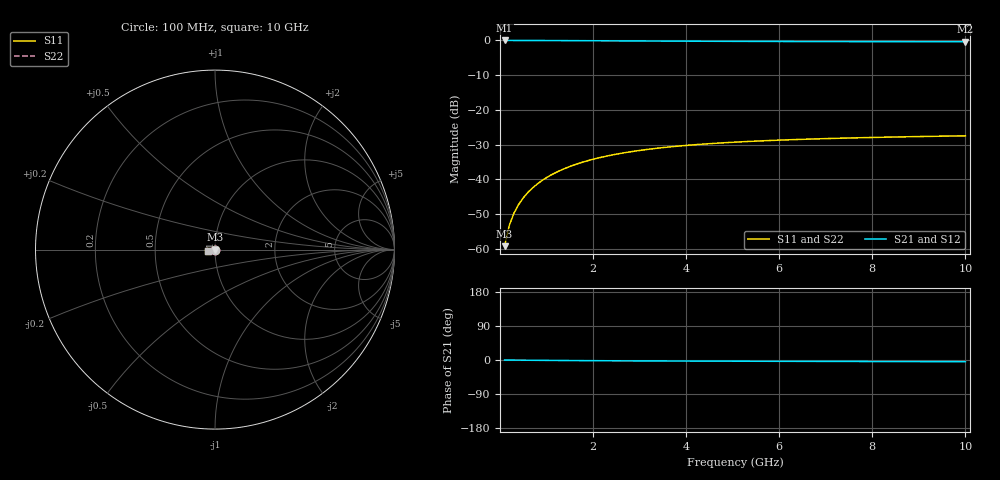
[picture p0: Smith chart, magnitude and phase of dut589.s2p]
! Touchstone file exported from HFSS 2024.1.0
!  File:  C:/UserFiles/LocalFiles/RDL_TSV_Batchsim/temp_TSV1_589_1779709884.aedt
!  Generated:  07:56:47 PM May 25, 2026
!  Design:  TSV1
!  Project:  temp_TSV1_589_1779709884
!  Setup:  Setup1
!  Solution:  Sweep
! Variables:
!  dtsv = 9.62um
!  hbump = 3um
!  htsv = 70.32um
!  lrdl = 252.1521522um
!  p = 40
!  p1 = 42.17um
!  t = 500um
!  trdl = 3um
!  wrdl = 24.89489489um
# GHz S MA R 50.000000
! Terminal data exported
! Port[1] = TSV22_T1
! Port[2] = TSV22_T2
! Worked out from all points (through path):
!   100 points, 100 MHz to 10 GHz, reference 50 ohm
!   highest |S21| = 0.00 dB at 100 MHz (marker M1); lowest = -0.4 dB at 10 GHz (marker M2)
!   lowest |S11| = -59.3 dB at 100 MHz (marker M3), VSWR 1.00, Z = 50 - j0.108 ohm
!   |S11| at or under -10 dB: start of sweep to end of sweep
!   |S22| runs from -59.3 to -27.5 dB; largest |S21 - S12| = 5.1e-15
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0.1  0.001087 -83.8  0.9998 -0.1  0.9998 -0.1  0.001087 -83.8
! Gamma 0 0 0 0
! Port Impedance 50 0 50 0
0.2  0.002164 -89.0  0.9997 -0.2  0.9997 -0.2  0.002164 -89.0
0.3  0.003244 -91.8  0.9995 -0.3  0.9995 -0.3  0.003244 -91.8
0.4  0.004323 -94.0  0.9993 -0.4  0.9993 -0.4  0.004323 -94.0
0.5  0.005394 -96.0  0.999 -0.5  0.999 -0.5  0.005394 -96.0
0.6  0.006455 -97.8  0.9987 -0.6  0.9987 -0.6  0.006455 -97.8
0.7  0.007504 -99.6  0.9983 -0.7  0.9983 -0.7  0.007504 -99.6
0.8  0.008538 -101.3  0.9979 -0.8  0.9979 -0.8  0.008538 -101.3
0.9  0.009557 -102.9  0.9974 -0.9  0.9974 -0.9  0.009557 -102.9
1.1  0.01154 -106.1  0.9964 -1.1  0.9964 -1.1  0.01154 -106.1
1.4  0.01437 -110.6  0.9945 -1.4  0.9945 -1.4  0.01437 -110.6
1.6  0.01615 -113.4  0.9931 -1.5  0.9931 -1.5  0.01615 -113.4
1.8  0.01783 -116.1  0.9917 -1.7  0.9917 -1.7  0.01783 -116.1
2.1  0.02018 -120.0  0.9895 -1.9  0.9895 -1.9  0.02018 -120.0
2.5  0.02299 -124.9  0.9864 -2.1  0.9864 -2.1  0.02299 -124.9
2.9  0.02546 -129.3  0.9835 -2.3  0.9835 -2.3  0.02546 -129.3
3.4  0.0281 -134.2  0.98 -2.6  0.98 -2.6  0.0281 -134.2
4.2  0.03151 -141.1  0.9751 -2.9  0.9751 -2.9  0.03151 -141.1
5.1  0.03441 -147.6  0.9705 -3.2  0.9705 -3.2  0.03441 -147.6
6.7  0.03801 -156.8  0.9644 -3.6  0.9644 -3.6  0.03801 -156.8
8.4  0.04055 -164.4  0.96 -4.1  0.96 -4.1  0.04055 -164.4
10  0.04227 -170.3  0.9571 -4.5  0.9571 -4.5  0.04227 -170.3
